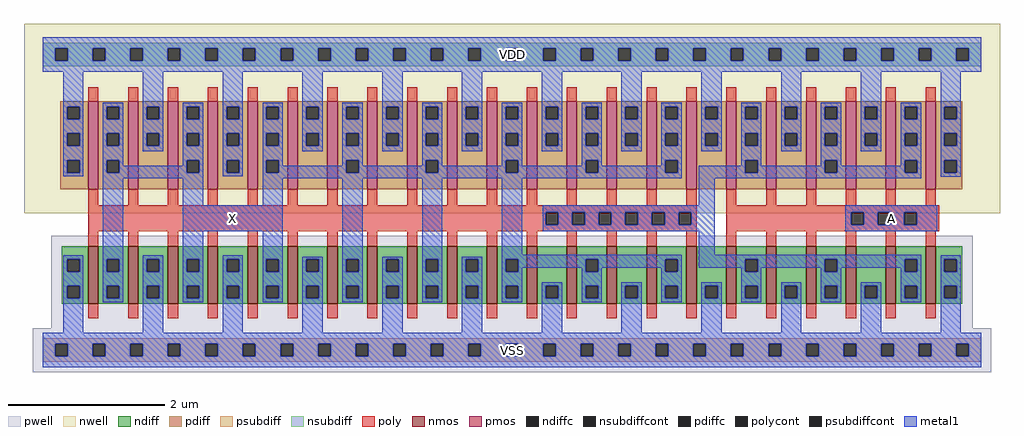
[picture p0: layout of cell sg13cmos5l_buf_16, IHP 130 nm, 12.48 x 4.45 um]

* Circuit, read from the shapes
.subckt sg13cmos5l_buf_16 VDD VSS A X
XM1 X n1 VSS VSS sg13_lv_nmos w=0.74u l=0.13u m=16
XM2 n1 A VSS VSS sg13_lv_nmos w=0.74u l=0.13u m=6
XM3 X n1 VDD VDD sg13_lv_pmos w=1.12u l=0.13u m=16
XM4 n1 A VDD VDD sg13_lv_pmos w=1.12u l=0.13u m=6
.ends

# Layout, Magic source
magic
tech ihp-sg13cmos5l
magscale 1 2
<< nwell >>
rect -48 350 2448 834
<< pwell >>
rect 22 56 2378 292
rect -26 -56 2426 56
<< nmos >>
rect 116 118 142 266
rect 218 118 244 266
rect 320 118 346 266
rect 422 118 448 266
rect 524 118 550 266
rect 626 118 652 266
rect 728 118 754 266
rect 830 118 856 266
rect 932 118 958 266
rect 1034 118 1060 266
rect 1136 118 1162 266
rect 1238 118 1264 266
rect 1340 118 1366 266
rect 1442 118 1468 266
rect 1544 118 1570 266
rect 1646 118 1672 266
rect 1748 118 1774 266
rect 1850 118 1876 266
rect 1952 118 1978 266
rect 2054 118 2080 266
rect 2156 118 2182 266
rect 2258 118 2284 266
<< pmos >>
rect 116 412 142 636
rect 218 412 244 636
rect 320 412 346 636
rect 422 412 448 636
rect 524 412 550 636
rect 626 412 652 636
rect 728 412 754 636
rect 830 412 856 636
rect 932 412 958 636
rect 1034 412 1060 636
rect 1136 412 1162 636
rect 1238 412 1264 636
rect 1340 412 1366 636
rect 1442 412 1468 636
rect 1544 412 1570 636
rect 1646 412 1672 636
rect 1748 412 1774 636
rect 1850 412 1876 636
rect 1952 412 1978 636
rect 2054 412 2080 636
rect 2156 412 2182 636
rect 2258 412 2284 636
<< ndiff >>
rect 48 232 116 266
rect 48 200 62 232
rect 94 200 116 232
rect 48 164 116 200
rect 48 132 62 164
rect 94 132 116 164
rect 48 118 116 132
rect 142 232 218 266
rect 142 200 164 232
rect 196 200 218 232
rect 142 164 218 200
rect 142 132 164 164
rect 196 132 218 164
rect 142 118 218 132
rect 244 233 320 266
rect 244 201 266 233
rect 298 201 320 233
rect 244 164 320 201
rect 244 132 266 164
rect 298 132 320 164
rect 244 118 320 132
rect 346 232 422 266
rect 346 200 368 232
rect 400 200 422 232
rect 346 164 422 200
rect 346 132 368 164
rect 400 132 422 164
rect 346 118 422 132
rect 448 233 524 266
rect 448 201 470 233
rect 502 201 524 233
rect 448 164 524 201
rect 448 132 470 164
rect 502 132 524 164
rect 448 118 524 132
rect 550 232 626 266
rect 550 200 572 232
rect 604 200 626 232
rect 550 164 626 200
rect 550 132 572 164
rect 604 132 626 164
rect 550 118 626 132
rect 652 232 728 266
rect 652 200 674 232
rect 706 200 728 232
rect 652 164 728 200
rect 652 132 674 164
rect 706 132 728 164
rect 652 118 728 132
rect 754 232 830 266
rect 754 200 776 232
rect 808 200 830 232
rect 754 164 830 200
rect 754 132 776 164
rect 808 132 830 164
rect 754 118 830 132
rect 856 232 932 266
rect 856 200 878 232
rect 910 200 932 232
rect 856 164 932 200
rect 856 132 878 164
rect 910 132 932 164
rect 856 118 932 132
rect 958 232 1034 266
rect 958 200 980 232
rect 1012 200 1034 232
rect 958 164 1034 200
rect 958 132 980 164
rect 1012 132 1034 164
rect 958 118 1034 132
rect 1060 232 1136 266
rect 1060 200 1082 232
rect 1114 200 1136 232
rect 1060 164 1136 200
rect 1060 132 1082 164
rect 1114 132 1136 164
rect 1060 118 1136 132
rect 1162 232 1238 266
rect 1162 200 1184 232
rect 1216 200 1238 232
rect 1162 164 1238 200
rect 1162 132 1184 164
rect 1216 132 1238 164
rect 1162 118 1238 132
rect 1264 164 1340 266
rect 1264 132 1286 164
rect 1318 132 1340 164
rect 1264 118 1340 132
rect 1366 232 1442 266
rect 1366 200 1388 232
rect 1420 200 1442 232
rect 1366 164 1442 200
rect 1366 132 1388 164
rect 1420 132 1442 164
rect 1366 118 1442 132
rect 1468 164 1544 266
rect 1468 132 1490 164
rect 1522 132 1544 164
rect 1468 118 1544 132
rect 1570 232 1646 266
rect 1570 200 1592 232
rect 1624 200 1646 232
rect 1570 164 1646 200
rect 1570 132 1592 164
rect 1624 132 1646 164
rect 1570 118 1646 132
rect 1672 164 1748 266
rect 1672 132 1694 164
rect 1726 132 1748 164
rect 1672 118 1748 132
rect 1774 232 1850 266
rect 1774 200 1796 232
rect 1828 200 1850 232
rect 1774 164 1850 200
rect 1774 132 1796 164
rect 1828 132 1850 164
rect 1774 118 1850 132
rect 1876 164 1952 266
rect 1876 132 1898 164
rect 1930 132 1952 164
rect 1876 118 1952 132
rect 1978 232 2054 266
rect 1978 200 2000 232
rect 2032 200 2054 232
rect 1978 164 2054 200
rect 1978 132 2000 164
rect 2032 132 2054 164
rect 1978 118 2054 132
rect 2080 164 2156 266
rect 2080 132 2102 164
rect 2134 132 2156 164
rect 2080 118 2156 132
rect 2182 232 2258 266
rect 2182 200 2204 232
rect 2236 200 2258 232
rect 2182 164 2258 200
rect 2182 132 2204 164
rect 2236 132 2258 164
rect 2182 118 2258 132
rect 2284 232 2352 266
rect 2284 200 2306 232
rect 2338 200 2352 232
rect 2284 164 2352 200
rect 2284 132 2306 164
rect 2338 132 2352 164
rect 2284 118 2352 132
<< pdiff >>
rect 45 622 116 636
rect 45 590 62 622
rect 94 590 116 622
rect 45 554 116 590
rect 45 522 62 554
rect 94 522 116 554
rect 45 486 116 522
rect 45 454 62 486
rect 94 454 116 486
rect 45 412 116 454
rect 142 622 218 636
rect 142 590 164 622
rect 196 590 218 622
rect 142 554 218 590
rect 142 522 164 554
rect 196 522 218 554
rect 142 486 218 522
rect 142 454 164 486
rect 196 454 218 486
rect 142 412 218 454
rect 244 622 320 636
rect 244 590 266 622
rect 298 590 320 622
rect 244 554 320 590
rect 244 522 266 554
rect 298 522 320 554
rect 244 412 320 522
rect 346 622 422 636
rect 346 590 368 622
rect 400 590 422 622
rect 346 554 422 590
rect 346 522 368 554
rect 400 522 422 554
rect 346 486 422 522
rect 346 454 368 486
rect 400 454 422 486
rect 346 412 422 454
rect 448 622 524 636
rect 448 590 470 622
rect 502 590 524 622
rect 448 554 524 590
rect 448 522 470 554
rect 502 522 524 554
rect 448 486 524 522
rect 448 454 470 486
rect 502 454 524 486
rect 448 412 524 454
rect 550 622 626 636
rect 550 590 572 622
rect 604 590 626 622
rect 550 554 626 590
rect 550 522 572 554
rect 604 522 626 554
rect 550 486 626 522
rect 550 454 572 486
rect 604 454 626 486
rect 550 412 626 454
rect 652 622 728 636
rect 652 590 674 622
rect 706 590 728 622
rect 652 554 728 590
rect 652 522 674 554
rect 706 522 728 554
rect 652 412 728 522
rect 754 622 830 636
rect 754 590 776 622
rect 808 590 830 622
rect 754 554 830 590
rect 754 522 776 554
rect 808 522 830 554
rect 754 486 830 522
rect 754 454 776 486
rect 808 454 830 486
rect 754 412 830 454
rect 856 622 932 636
rect 856 590 878 622
rect 910 590 932 622
rect 856 554 932 590
rect 856 522 878 554
rect 910 522 932 554
rect 856 412 932 522
rect 958 622 1034 636
rect 958 590 980 622
rect 1012 590 1034 622
rect 958 554 1034 590
rect 958 522 980 554
rect 1012 522 1034 554
rect 958 486 1034 522
rect 958 454 980 486
rect 1012 454 1034 486
rect 958 412 1034 454
rect 1060 622 1136 636
rect 1060 590 1082 622
rect 1114 590 1136 622
rect 1060 554 1136 590
rect 1060 522 1082 554
rect 1114 522 1136 554
rect 1060 412 1136 522
rect 1162 622 1238 636
rect 1162 590 1184 622
rect 1216 590 1238 622
rect 1162 554 1238 590
rect 1162 522 1184 554
rect 1216 522 1238 554
rect 1162 486 1238 522
rect 1162 454 1184 486
rect 1216 454 1238 486
rect 1162 412 1238 454
rect 1264 622 1340 636
rect 1264 590 1286 622
rect 1318 590 1340 622
rect 1264 554 1340 590
rect 1264 522 1286 554
rect 1318 522 1340 554
rect 1264 412 1340 522
rect 1366 622 1442 636
rect 1366 590 1388 622
rect 1420 590 1442 622
rect 1366 554 1442 590
rect 1366 522 1388 554
rect 1420 522 1442 554
rect 1366 486 1442 522
rect 1366 454 1388 486
rect 1420 454 1442 486
rect 1366 412 1442 454
rect 1468 622 1544 636
rect 1468 590 1490 622
rect 1522 590 1544 622
rect 1468 554 1544 590
rect 1468 522 1490 554
rect 1522 522 1544 554
rect 1468 412 1544 522
rect 1570 622 1646 636
rect 1570 590 1592 622
rect 1624 590 1646 622
rect 1570 554 1646 590
rect 1570 522 1592 554
rect 1624 522 1646 554
rect 1570 486 1646 522
rect 1570 454 1592 486
rect 1624 454 1646 486
rect 1570 412 1646 454
rect 1672 622 1748 636
rect 1672 590 1694 622
rect 1726 590 1748 622
rect 1672 554 1748 590
rect 1672 522 1694 554
rect 1726 522 1748 554
rect 1672 412 1748 522
rect 1774 622 1850 636
rect 1774 590 1796 622
rect 1828 590 1850 622
rect 1774 554 1850 590
rect 1774 522 1796 554
rect 1828 522 1850 554
rect 1774 486 1850 522
rect 1774 454 1796 486
rect 1828 454 1850 486
rect 1774 412 1850 454
rect 1876 622 1952 636
rect 1876 590 1898 622
rect 1930 590 1952 622
rect 1876 554 1952 590
rect 1876 522 1898 554
rect 1930 522 1952 554
rect 1876 412 1952 522
rect 1978 622 2054 636
rect 1978 590 2000 622
rect 2032 590 2054 622
rect 1978 554 2054 590
rect 1978 522 2000 554
rect 2032 522 2054 554
rect 1978 486 2054 522
rect 1978 454 2000 486
rect 2032 454 2054 486
rect 1978 412 2054 454
rect 2080 622 2156 636
rect 2080 590 2102 622
rect 2134 590 2156 622
rect 2080 554 2156 590
rect 2080 522 2102 554
rect 2134 522 2156 554
rect 2080 412 2156 522
rect 2182 622 2258 636
rect 2182 590 2204 622
rect 2236 590 2258 622
rect 2182 554 2258 590
rect 2182 522 2204 554
rect 2236 522 2258 554
rect 2182 486 2258 522
rect 2182 454 2204 486
rect 2236 454 2258 486
rect 2182 412 2258 454
rect 2284 622 2352 636
rect 2284 590 2306 622
rect 2338 590 2352 622
rect 2284 554 2352 590
rect 2284 522 2306 554
rect 2338 522 2352 554
rect 2284 485 2352 522
rect 2284 453 2306 485
rect 2338 453 2352 485
rect 2284 412 2352 453
<< ndiffc >>
rect 62 200 94 232
rect 62 132 94 164
rect 164 200 196 232
rect 164 132 196 164
rect 266 201 298 233
rect 266 132 298 164
rect 368 200 400 232
rect 368 132 400 164
rect 470 201 502 233
rect 470 132 502 164
rect 572 200 604 232
rect 572 132 604 164
rect 674 200 706 232
rect 674 132 706 164
rect 776 200 808 232
rect 776 132 808 164
rect 878 200 910 232
rect 878 132 910 164
rect 980 200 1012 232
rect 980 132 1012 164
rect 1082 200 1114 232
rect 1082 132 1114 164
rect 1184 200 1216 232
rect 1184 132 1216 164
rect 1286 132 1318 164
rect 1388 200 1420 232
rect 1388 132 1420 164
rect 1490 132 1522 164
rect 1592 200 1624 232
rect 1592 132 1624 164
rect 1694 132 1726 164
rect 1796 200 1828 232
rect 1796 132 1828 164
rect 1898 132 1930 164
rect 2000 200 2032 232
rect 2000 132 2032 164
rect 2102 132 2134 164
rect 2204 200 2236 232
rect 2204 132 2236 164
rect 2306 200 2338 232
rect 2306 132 2338 164
<< pdiffc >>
rect 62 590 94 622
rect 62 522 94 554
rect 62 454 94 486
rect 164 590 196 622
rect 164 522 196 554
rect 164 454 196 486
rect 266 590 298 622
rect 266 522 298 554
rect 368 590 400 622
rect 368 522 400 554
rect 368 454 400 486
rect 470 590 502 622
rect 470 522 502 554
rect 470 454 502 486
rect 572 590 604 622
rect 572 522 604 554
rect 572 454 604 486
rect 674 590 706 622
rect 674 522 706 554
rect 776 590 808 622
rect 776 522 808 554
rect 776 454 808 486
rect 878 590 910 622
rect 878 522 910 554
rect 980 590 1012 622
rect 980 522 1012 554
rect 980 454 1012 486
rect 1082 590 1114 622
rect 1082 522 1114 554
rect 1184 590 1216 622
rect 1184 522 1216 554
rect 1184 454 1216 486
rect 1286 590 1318 622
rect 1286 522 1318 554
rect 1388 590 1420 622
rect 1388 522 1420 554
rect 1388 454 1420 486
rect 1490 590 1522 622
rect 1490 522 1522 554
rect 1592 590 1624 622
rect 1592 522 1624 554
rect 1592 454 1624 486
rect 1694 590 1726 622
rect 1694 522 1726 554
rect 1796 590 1828 622
rect 1796 522 1828 554
rect 1796 454 1828 486
rect 1898 590 1930 622
rect 1898 522 1930 554
rect 2000 590 2032 622
rect 2000 522 2032 554
rect 2000 454 2032 486
rect 2102 590 2134 622
rect 2102 522 2134 554
rect 2204 590 2236 622
rect 2204 522 2236 554
rect 2204 454 2236 486
rect 2306 590 2338 622
rect 2306 522 2338 554
rect 2306 453 2338 485
<< psubdiff >>
rect 0 16 2400 30
rect 0 -16 32 16
rect 64 -16 128 16
rect 160 -16 224 16
rect 256 -16 320 16
rect 352 -16 416 16
rect 448 -16 512 16
rect 544 -16 608 16
rect 640 -16 704 16
rect 736 -16 800 16
rect 832 -16 896 16
rect 928 -16 992 16
rect 1024 -16 1088 16
rect 1120 -16 1184 16
rect 1216 -16 1280 16
rect 1312 -16 1376 16
rect 1408 -16 1472 16
rect 1504 -16 1568 16
rect 1600 -16 1664 16
rect 1696 -16 1760 16
rect 1792 -16 1856 16
rect 1888 -16 1952 16
rect 1984 -16 2048 16
rect 2080 -16 2144 16
rect 2176 -16 2240 16
rect 2272 -16 2336 16
rect 2368 -16 2400 16
rect 0 -30 2400 -16
<< nsubdiff >>
rect 0 772 2400 786
rect 0 740 32 772
rect 64 740 128 772
rect 160 740 224 772
rect 256 740 320 772
rect 352 740 416 772
rect 448 740 512 772
rect 544 740 608 772
rect 640 740 704 772
rect 736 740 800 772
rect 832 740 896 772
rect 928 740 992 772
rect 1024 740 1088 772
rect 1120 740 1184 772
rect 1216 740 1280 772
rect 1312 740 1376 772
rect 1408 740 1472 772
rect 1504 740 1568 772
rect 1600 740 1664 772
rect 1696 740 1760 772
rect 1792 740 1856 772
rect 1888 740 1952 772
rect 1984 740 2048 772
rect 2080 740 2144 772
rect 2176 740 2240 772
rect 2272 740 2336 772
rect 2368 740 2400 772
rect 0 726 2400 740
<< psubdiffcont >>
rect 32 -16 64 16
rect 128 -16 160 16
rect 224 -16 256 16
rect 320 -16 352 16
rect 416 -16 448 16
rect 512 -16 544 16
rect 608 -16 640 16
rect 704 -16 736 16
rect 800 -16 832 16
rect 896 -16 928 16
rect 992 -16 1024 16
rect 1088 -16 1120 16
rect 1184 -16 1216 16
rect 1280 -16 1312 16
rect 1376 -16 1408 16
rect 1472 -16 1504 16
rect 1568 -16 1600 16
rect 1664 -16 1696 16
rect 1760 -16 1792 16
rect 1856 -16 1888 16
rect 1952 -16 1984 16
rect 2048 -16 2080 16
rect 2144 -16 2176 16
rect 2240 -16 2272 16
rect 2336 -16 2368 16
<< nsubdiffcont >>
rect 32 740 64 772
rect 128 740 160 772
rect 224 740 256 772
rect 320 740 352 772
rect 416 740 448 772
rect 512 740 544 772
rect 608 740 640 772
rect 704 740 736 772
rect 800 740 832 772
rect 896 740 928 772
rect 992 740 1024 772
rect 1088 740 1120 772
rect 1184 740 1216 772
rect 1280 740 1312 772
rect 1376 740 1408 772
rect 1472 740 1504 772
rect 1568 740 1600 772
rect 1664 740 1696 772
rect 1760 740 1792 772
rect 1856 740 1888 772
rect 1952 740 1984 772
rect 2048 740 2080 772
rect 2144 740 2176 772
rect 2240 740 2272 772
rect 2336 740 2368 772
<< poly >>
rect 116 636 142 672
rect 218 636 244 672
rect 320 636 346 672
rect 422 636 448 672
rect 524 636 550 672
rect 626 636 652 672
rect 728 636 754 672
rect 830 636 856 672
rect 932 636 958 672
rect 1034 636 1060 672
rect 1136 636 1162 672
rect 1238 636 1264 672
rect 1340 636 1366 672
rect 1442 636 1468 672
rect 1544 636 1570 672
rect 1646 636 1672 672
rect 1748 636 1774 672
rect 1850 636 1876 672
rect 1952 636 1978 672
rect 2054 636 2080 672
rect 2156 636 2182 672
rect 2258 636 2284 672
rect 116 370 142 412
rect 218 370 244 412
rect 320 370 346 412
rect 422 370 448 412
rect 524 370 550 412
rect 626 370 652 412
rect 728 370 754 412
rect 830 370 856 412
rect 932 370 958 412
rect 1034 370 1060 412
rect 1136 370 1162 412
rect 1238 370 1264 412
rect 1340 370 1366 412
rect 1442 370 1468 412
rect 1544 370 1570 412
rect 1646 370 1672 412
rect 116 353 1672 370
rect 116 321 1286 353
rect 1318 321 1354 353
rect 1386 321 1422 353
rect 1454 321 1490 353
rect 1522 321 1558 353
rect 1590 321 1626 353
rect 1658 321 1672 353
rect 116 304 1672 321
rect 116 266 142 304
rect 218 266 244 304
rect 320 266 346 304
rect 422 266 448 304
rect 524 266 550 304
rect 626 266 652 304
rect 728 266 754 304
rect 830 266 856 304
rect 932 266 958 304
rect 1034 266 1060 304
rect 1136 266 1162 304
rect 1238 266 1264 304
rect 1340 266 1366 304
rect 1442 266 1468 304
rect 1544 266 1570 304
rect 1646 266 1672 304
rect 1748 370 1774 412
rect 1850 370 1876 412
rect 1952 370 1978 412
rect 2054 370 2080 412
rect 2156 370 2182 412
rect 2258 370 2284 412
rect 1748 353 2292 370
rect 1748 321 2067 353
rect 2099 321 2135 353
rect 2167 321 2203 353
rect 2235 321 2292 353
rect 1748 304 2292 321
rect 1748 266 1774 304
rect 1850 266 1876 304
rect 1952 266 1978 304
rect 2054 266 2080 304
rect 2156 266 2182 304
rect 2258 266 2284 304
rect 116 82 142 118
rect 218 82 244 118
rect 320 82 346 118
rect 422 82 448 118
rect 524 82 550 118
rect 626 82 652 118
rect 728 82 754 118
rect 830 82 856 118
rect 932 82 958 118
rect 1034 82 1060 118
rect 1136 82 1162 118
rect 1238 82 1264 118
rect 1340 82 1366 118
rect 1442 82 1468 118
rect 1544 82 1570 118
rect 1646 82 1672 118
rect 1748 82 1774 118
rect 1850 82 1876 118
rect 1952 82 1978 118
rect 2054 82 2080 118
rect 2156 82 2182 118
rect 2258 82 2284 118
<< polycont >>
rect 1286 321 1318 353
rect 1354 321 1386 353
rect 1422 321 1454 353
rect 1490 321 1522 353
rect 1558 321 1590 353
rect 1626 321 1658 353
rect 2067 321 2099 353
rect 2135 321 2167 353
rect 2203 321 2235 353
<< metal1 >>
rect 0 772 2400 800
rect 0 740 32 772
rect 64 740 128 772
rect 160 740 224 772
rect 256 740 320 772
rect 352 740 416 772
rect 448 740 512 772
rect 544 740 608 772
rect 640 740 704 772
rect 736 740 800 772
rect 832 740 896 772
rect 928 740 992 772
rect 1024 740 1088 772
rect 1120 740 1184 772
rect 1216 740 1280 772
rect 1312 740 1376 772
rect 1408 740 1472 772
rect 1504 740 1568 772
rect 1600 740 1664 772
rect 1696 740 1760 772
rect 1792 740 1856 772
rect 1888 740 1952 772
rect 1984 740 2048 772
rect 2080 740 2144 772
rect 2176 740 2240 772
rect 2272 740 2336 772
rect 2368 740 2400 772
rect 0 712 2400 740
rect 52 622 104 712
rect 52 590 62 622
rect 94 590 104 622
rect 52 554 104 590
rect 52 522 62 554
rect 94 522 104 554
rect 52 486 104 522
rect 52 454 62 486
rect 94 454 104 486
rect 52 444 104 454
rect 154 622 206 632
rect 154 590 164 622
rect 196 590 206 622
rect 154 554 206 590
rect 154 522 164 554
rect 196 522 206 554
rect 154 486 206 522
rect 256 622 308 712
rect 256 590 266 622
rect 298 590 308 622
rect 256 554 308 590
rect 256 522 266 554
rect 298 522 308 554
rect 256 508 308 522
rect 358 622 410 632
rect 358 590 368 622
rect 400 590 410 622
rect 358 554 410 590
rect 358 522 368 554
rect 400 522 410 554
rect 154 454 164 486
rect 196 472 206 486
rect 358 486 410 522
rect 358 472 368 486
rect 196 454 368 472
rect 400 454 410 486
rect 154 440 410 454
rect 460 622 512 712
rect 460 590 470 622
rect 502 590 512 622
rect 460 554 512 590
rect 460 522 470 554
rect 502 522 512 554
rect 460 486 512 522
rect 460 454 470 486
rect 502 454 512 486
rect 460 444 512 454
rect 562 622 614 632
rect 562 590 572 622
rect 604 590 614 622
rect 562 554 614 590
rect 562 522 572 554
rect 604 522 614 554
rect 562 486 614 522
rect 664 622 716 712
rect 664 590 674 622
rect 706 590 716 622
rect 664 554 716 590
rect 664 522 674 554
rect 706 522 716 554
rect 664 508 716 522
rect 766 622 818 632
rect 766 590 776 622
rect 808 590 818 622
rect 766 554 818 590
rect 766 522 776 554
rect 808 522 818 554
rect 562 454 572 486
rect 604 472 614 486
rect 766 486 818 522
rect 868 622 920 712
rect 868 590 878 622
rect 910 590 920 622
rect 868 554 920 590
rect 868 522 878 554
rect 910 522 920 554
rect 868 508 920 522
rect 970 622 1022 632
rect 970 590 980 622
rect 1012 590 1022 622
rect 970 554 1022 590
rect 970 522 980 554
rect 1012 522 1022 554
rect 766 472 776 486
rect 604 454 776 472
rect 808 472 818 486
rect 970 486 1022 522
rect 1072 622 1124 712
rect 1072 590 1082 622
rect 1114 590 1124 622
rect 1072 554 1124 590
rect 1072 522 1082 554
rect 1114 522 1124 554
rect 1072 508 1124 522
rect 1174 622 1226 632
rect 1174 590 1184 622
rect 1216 590 1226 622
rect 1174 554 1226 590
rect 1174 522 1184 554
rect 1216 522 1226 554
rect 970 472 980 486
rect 808 454 980 472
rect 1012 472 1022 486
rect 1174 486 1226 522
rect 1276 622 1328 712
rect 1276 590 1286 622
rect 1318 590 1328 622
rect 1276 554 1328 590
rect 1276 522 1286 554
rect 1318 522 1328 554
rect 1276 508 1328 522
rect 1378 622 1430 632
rect 1378 590 1388 622
rect 1420 590 1430 622
rect 1378 554 1430 590
rect 1378 522 1388 554
rect 1420 522 1430 554
rect 1174 472 1184 486
rect 1012 454 1184 472
rect 1216 472 1226 486
rect 1378 486 1430 522
rect 1480 622 1532 712
rect 1480 590 1490 622
rect 1522 590 1532 622
rect 1480 554 1532 590
rect 1480 522 1490 554
rect 1522 522 1532 554
rect 1480 508 1532 522
rect 1582 622 1634 632
rect 1582 590 1592 622
rect 1624 590 1634 622
rect 1582 554 1634 590
rect 1582 522 1592 554
rect 1624 522 1634 554
rect 1378 472 1388 486
rect 1216 454 1388 472
rect 1420 472 1430 486
rect 1582 486 1634 522
rect 1684 622 1736 712
rect 1684 590 1694 622
rect 1726 590 1736 622
rect 1684 554 1736 590
rect 1684 522 1694 554
rect 1726 522 1736 554
rect 1684 508 1736 522
rect 1786 622 1838 632
rect 1786 590 1796 622
rect 1828 590 1838 622
rect 1786 554 1838 590
rect 1786 522 1796 554
rect 1828 522 1838 554
rect 1582 472 1592 486
rect 1420 454 1592 472
rect 1624 454 1634 486
rect 1786 486 1838 522
rect 1888 622 1940 712
rect 1888 590 1898 622
rect 1930 590 1940 622
rect 1888 554 1940 590
rect 1888 522 1898 554
rect 1930 522 1940 554
rect 1888 508 1940 522
rect 1990 622 2042 632
rect 1990 590 2000 622
rect 2032 590 2042 622
rect 1990 554 2042 590
rect 1990 522 2000 554
rect 2032 522 2042 554
rect 1786 472 1796 486
rect 52 232 104 242
rect 52 200 62 232
rect 94 200 104 232
rect 52 164 104 200
rect 52 132 62 164
rect 94 132 104 164
rect 52 44 104 132
rect 154 232 206 440
rect 358 370 410 440
rect 562 440 1634 454
rect 1677 454 1796 472
rect 1828 472 1838 486
rect 1990 486 2042 522
rect 2092 622 2144 712
rect 2092 590 2102 622
rect 2134 590 2144 622
rect 2092 554 2144 590
rect 2092 522 2102 554
rect 2134 522 2144 554
rect 2092 509 2144 522
rect 2194 622 2246 632
rect 2194 590 2204 622
rect 2236 590 2246 622
rect 2194 554 2246 590
rect 2194 522 2204 554
rect 2236 522 2246 554
rect 1990 472 2000 486
rect 1828 454 2000 472
rect 2032 472 2042 486
rect 2194 486 2246 522
rect 2194 472 2204 486
rect 2032 454 2204 472
rect 2236 454 2246 486
rect 1677 440 2246 454
rect 2296 622 2348 712
rect 2296 590 2306 622
rect 2338 590 2348 622
rect 2296 554 2348 590
rect 2296 522 2306 554
rect 2338 522 2348 554
rect 2296 485 2348 522
rect 2296 453 2306 485
rect 2338 453 2348 485
rect 2296 443 2348 453
rect 562 370 614 440
rect 358 304 614 370
rect 154 200 164 232
rect 196 200 206 232
rect 154 164 206 200
rect 154 132 164 164
rect 196 132 206 164
rect 154 122 206 132
rect 256 233 308 242
rect 256 201 266 233
rect 298 201 308 233
rect 256 164 308 201
rect 256 132 266 164
rect 298 132 308 164
rect 256 44 308 132
rect 358 232 410 304
rect 358 200 368 232
rect 400 200 410 232
rect 358 164 410 200
rect 358 132 368 164
rect 400 132 410 164
rect 358 122 410 132
rect 460 233 512 242
rect 460 201 470 233
rect 502 201 512 233
rect 460 164 512 201
rect 460 132 470 164
rect 502 132 512 164
rect 460 44 512 132
rect 562 232 614 304
rect 562 200 572 232
rect 604 200 614 232
rect 562 164 614 200
rect 562 132 572 164
rect 604 132 614 164
rect 562 122 614 132
rect 664 232 716 239
rect 664 200 674 232
rect 706 200 716 232
rect 664 164 716 200
rect 664 132 674 164
rect 706 132 716 164
rect 664 44 716 132
rect 766 232 818 440
rect 766 200 776 232
rect 808 200 818 232
rect 766 164 818 200
rect 766 132 776 164
rect 808 132 818 164
rect 766 122 818 132
rect 868 232 920 239
rect 868 200 878 232
rect 910 200 920 232
rect 868 164 920 200
rect 868 132 878 164
rect 910 132 920 164
rect 868 44 920 132
rect 970 232 1022 440
rect 1174 244 1226 440
rect 1677 370 1719 440
rect 1279 353 1719 370
rect 1279 321 1286 353
rect 1318 321 1354 353
rect 1386 321 1422 353
rect 1454 321 1490 353
rect 1522 321 1558 353
rect 1590 321 1626 353
rect 1658 321 1719 353
rect 1279 304 1719 321
rect 2052 353 2288 370
rect 2052 321 2067 353
rect 2099 321 2135 353
rect 2167 321 2203 353
rect 2235 321 2288 353
rect 2052 304 2288 321
rect 1677 244 1719 304
rect 970 200 980 232
rect 1012 200 1022 232
rect 970 164 1022 200
rect 970 132 980 164
rect 1012 132 1022 164
rect 970 122 1022 132
rect 1072 232 1124 239
rect 1072 200 1082 232
rect 1114 200 1124 232
rect 1072 164 1124 200
rect 1072 132 1082 164
rect 1114 132 1124 164
rect 1072 44 1124 132
rect 1174 232 1634 244
rect 1174 200 1184 232
rect 1216 210 1388 232
rect 1216 200 1226 210
rect 1174 164 1226 200
rect 1378 200 1388 210
rect 1420 210 1592 232
rect 1420 200 1430 210
rect 1174 132 1184 164
rect 1216 132 1226 164
rect 1174 122 1226 132
rect 1276 164 1328 174
rect 1276 132 1286 164
rect 1318 132 1328 164
rect 1276 44 1328 132
rect 1378 164 1430 200
rect 1582 200 1592 210
rect 1624 200 1634 232
rect 1677 232 2246 244
rect 1677 210 1796 232
rect 1378 132 1388 164
rect 1420 132 1430 164
rect 1378 122 1430 132
rect 1480 164 1532 174
rect 1480 132 1490 164
rect 1522 132 1532 164
rect 1480 44 1532 132
rect 1582 164 1634 200
rect 1786 200 1796 210
rect 1828 210 2000 232
rect 1828 200 1838 210
rect 1582 132 1592 164
rect 1624 132 1634 164
rect 1582 122 1634 132
rect 1684 164 1737 174
rect 1684 132 1694 164
rect 1726 132 1737 164
rect 1684 44 1737 132
rect 1786 164 1838 200
rect 1990 200 2000 210
rect 2032 210 2204 232
rect 2032 200 2042 210
rect 1786 132 1796 164
rect 1828 132 1838 164
rect 1786 122 1838 132
rect 1888 164 1940 174
rect 1888 132 1898 164
rect 1930 132 1940 164
rect 1888 44 1940 132
rect 1990 164 2042 200
rect 2194 200 2204 210
rect 2236 200 2246 232
rect 1990 132 2000 164
rect 2032 132 2042 164
rect 1990 122 2042 132
rect 2092 164 2144 174
rect 2092 132 2102 164
rect 2134 132 2144 164
rect 2092 44 2144 132
rect 2194 164 2246 200
rect 2194 132 2204 164
rect 2236 132 2246 164
rect 2194 122 2246 132
rect 2296 232 2348 242
rect 2296 200 2306 232
rect 2338 200 2348 232
rect 2296 164 2348 200
rect 2296 132 2306 164
rect 2338 132 2348 164
rect 2296 44 2348 132
rect 0 16 2400 44
rect 0 -16 32 16
rect 64 -16 128 16
rect 160 -16 224 16
rect 256 -16 320 16
rect 352 -16 416 16
rect 448 -16 512 16
rect 544 -16 608 16
rect 640 -16 704 16
rect 736 -16 800 16
rect 832 -16 896 16
rect 928 -16 992 16
rect 1024 -16 1088 16
rect 1120 -16 1184 16
rect 1216 -16 1280 16
rect 1312 -16 1376 16
rect 1408 -16 1472 16
rect 1504 -16 1568 16
rect 1600 -16 1664 16
rect 1696 -16 1760 16
rect 1792 -16 1856 16
rect 1888 -16 1952 16
rect 1984 -16 2048 16
rect 2080 -16 2144 16
rect 2176 -16 2240 16
rect 2272 -16 2336 16
rect 2368 -16 2400 16
rect 0 -44 2400 -16
<< labels >>
flabel metal1 s 0 712 2400 800 0 FreeSans 400 0 0 0 VDD
port 2 nsew
flabel metal1 s 0 -44 2400 44 0 FreeSans 400 0 0 0 VSS
port 3 nsew
flabel metal1 s 2052 304 2288 370 0 FreeSans 400 0 0 0 A
port 4 nsew
flabel metal1 s 358 304 614 370 0 FreeSans 400 0 0 0 X
port 5 nsew
<< properties >>
string FIXED_BBOX 0 0 2400 756
string GDS_END 190338
string GDS_FILE pll_digital.gds
string GDS_START 172618
<< end >>
